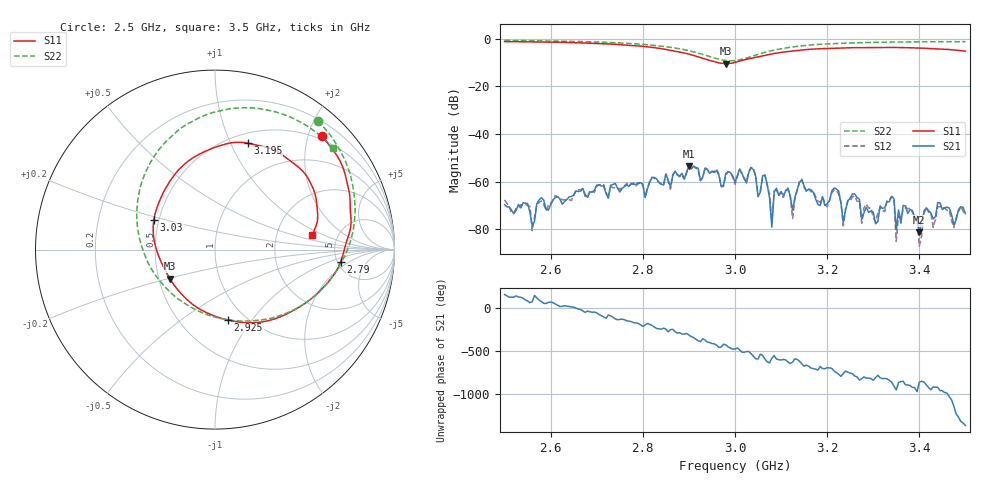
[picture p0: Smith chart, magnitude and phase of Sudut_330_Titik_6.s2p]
# Hz S RI R 50
! CMT, C1220, 16058040, 17.2.0/1
! Date: 15/08/2018 10:20:25
! Data: Format (Calibration Info)
! Freq  S11: Re/Im (F2)  S21: Re/Im (F2)  S12: Re/Im (F2)  S22: Re/Im (F2)
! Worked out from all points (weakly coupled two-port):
!   201 points, 2.5 GHz to 3.5 GHz, reference 50 ohm
!   highest |S21| = -53.40 dB at 2.9 GHz (marker M1); lowest = -81.2 dB at 3.4 GHz (marker M2)
!   lowest |S11| = -10.5 dB at 2.98 GHz (marker M3), VSWR 1.85, Z = 28.6 - j10.1 ohm
!   |S11| at or under -10 dB: 2.962 GHz to 2.999 GHz (36.87 MHz wide, 1.24 % of centre)
!   |S22| runs from -9.3 to -0.7 dB; largest |S21 - S12| = 0.0002
!   S11 on the Smith chart (normalised r, x): 2.5 GHz: 0.43, +2.24; 2.79 GHz: 5.37, -1.41; 2.925 GHz: 0.83, -0.78; 3.03 GHz: 0.47, +0.18; 3.195 GHz: 0.60, +1.16; 3.5 GHz: 3.24, +0.73
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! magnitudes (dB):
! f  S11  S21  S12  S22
! 2.5 GHz  -1.2  -69.6  -67.6  -0.7
! 2.56 GHz  -1.3  -78.6  -80.5  -0.9
! 2.67 GHz  -1.8  -63.0  -62.9  -1.2
! 2.79 GHz  -3.1  -60.4  -60.8  -2.2
! 2.835 GHz  -4.0  -60.2  -60.3  -3.0
! 2.9 GHz  -6.5  -53.4  -53.2  -5.0
! 2.925 GHz  -8.0  -59.5  -59.6  -6.3
! 2.98 GHz  -10.5  -56.5  -57.4  -9.2
! 3 GHz  -9.9  -60.2  -61.0  -9.2
! 3.03 GHz  -8.4  -56.1  -55.6  -7.8
! 3.065 GHz  -7.0  -57.2  -57.3  -5.7
! 3.08 GHz  -6.4  -79.0  -77.3  -5.0
! 3.09 GHz  -6.0  -62.7  -63.6  -4.6
! 3.125 GHz  -5.2  -72.1  -75.4  -3.5
! 3.14 GHz  -4.9  -60.3  -59.7  -3.1
! 3.17 GHz  -4.4  -64.5  -63.9  -2.6
! 3.195 GHz  -4.2  -70.0  -68.6  -2.3
! 3.22 GHz  -4.0  -63.0  -63.7  -2.0
! 3.235 GHz  -3.9  -77.2  -78.5  -1.9
! 3.335 GHz  -3.7  -68.4  -67.7  -1.4
! 3.4 GHz  -3.9  -81.2  -87.0  -1.3
! 3.5 GHz  -5.2  -73.4  -73.5  -1.3
